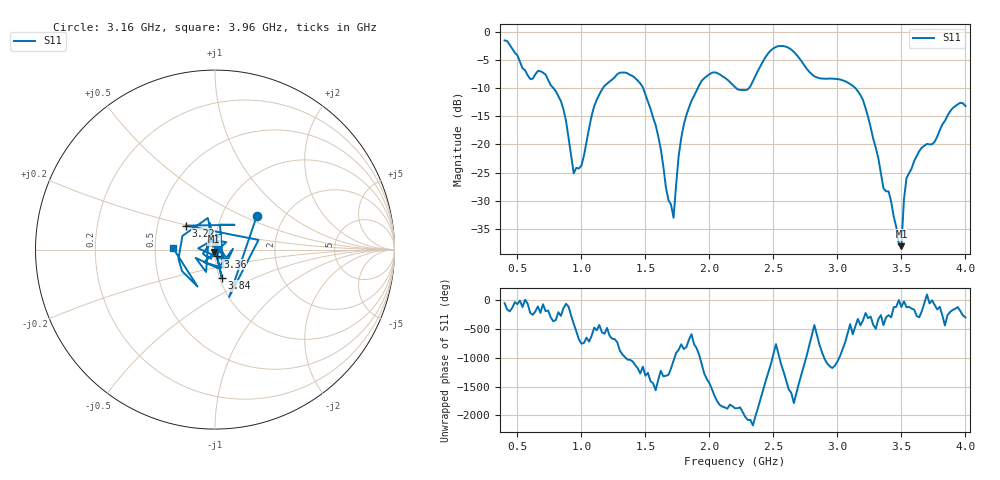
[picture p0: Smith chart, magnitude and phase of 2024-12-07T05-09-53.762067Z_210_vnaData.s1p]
!Created with skrf (http://scikit-rf.org).
# Hz S RI R 50.0
!freq ReS11 ImS11
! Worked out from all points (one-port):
!   181 points, 400 MHz to 4 GHz, reference 50 ohm
!   lowest |S11| = -38.1 dB at 3.5 GHz (marker M1), VSWR 1.03, Z = 49.5 - j1.12 ohm
!   |S11| at or under -10 dB: 782.7 MHz to 1.167 GHz (384.7 MHz wide, 39.5 % of centre); 1.483 GHz to 1.909 GHz (426 MHz wide, 25.1 % of centre); 3.142 GHz to end of sweep (the widest 3 of 4)
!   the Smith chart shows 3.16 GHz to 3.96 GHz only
!   S11 on the Smith chart (normalised r, x): 3.16 GHz: 1.46, +0.60; 3.22 GHz: 0.70, +0.20; 3.36 GHz: 1.02, -0.08; 3.84 GHz: 1.02, -0.33; 3.96 GHz: 0.62, +0.01
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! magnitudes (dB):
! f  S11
! 400 MHz  -1.5
! 600 MHz  -8.3
! 720 MHz  -7.6
! 860 MHz  -13.8
! 940 MHz  -25.1
! 1 GHz  -23.8
! 1.12 GHz  -12.0
! 1.3 GHz  -7.2
! 1.48 GHz  -9.8
! 1.58 GHz  -16.5
! 1.72 GHz  -33.1
! 1.76 GHz  -22.0
! 1.82 GHz  -14.8
! 1.94 GHz  -8.6
! 2.2 GHz  -9.8
! 2.3 GHz  -10.2
! 2.5 GHz  -2.9
! 2.66 GHz  -3.5
! 3.1 GHz  -9.2
! 3.16 GHz  -10.5
! 3.22 GHz  -13.5
! 3.36 GHz  -27.8
! 3.5 GHz  -38.1
! 3.52 GHz  -29.8
! 3.56 GHz  -25.1
! 3.84 GHz  -15.8
! 3.96 GHz  -12.6
! 4 GHz  -13.2
